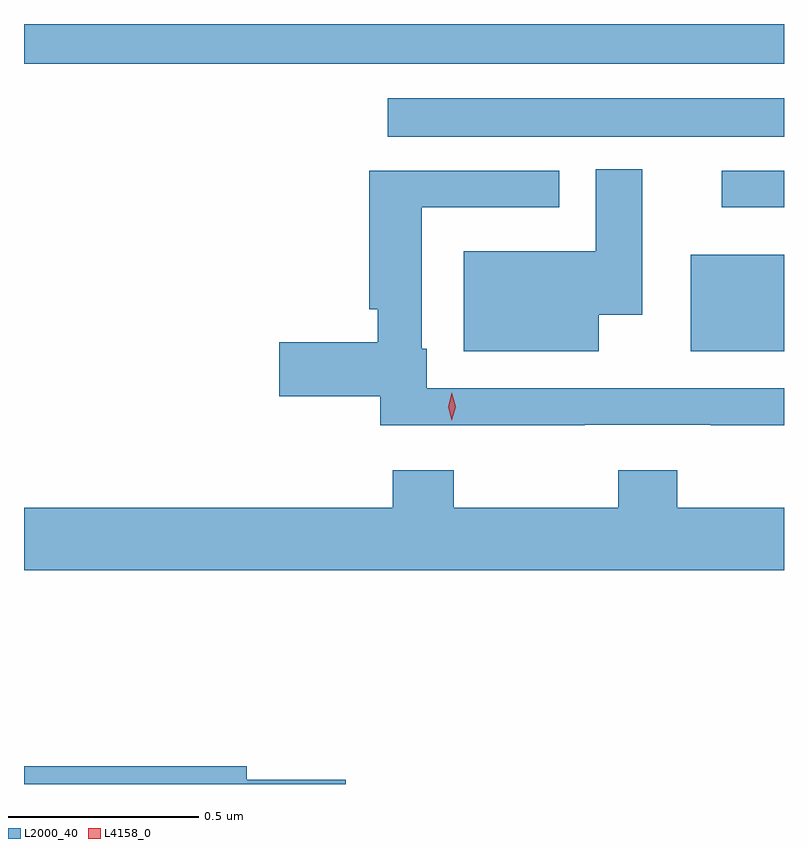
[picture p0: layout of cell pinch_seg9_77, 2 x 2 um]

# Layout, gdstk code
import gdstk
lib = gdstk.Library(unit=1e-6, precision=1e-09)
def R(c, l, rs):  # rectangles x0, y0, x1, y1
    for r in rs: c.add(gdstk.rectangle(r[:2], r[2:], *l))
def P(c, l, *ps):  # polygons
    for p in ps: c.add(gdstk.Polygon(p, *l))
L2000_40 = (2000, 40)
L4158_0 = (4158, 0)

pinch_seg9_77 = lib.new_cell('pinch_seg9_77')
R(pinch_seg9_77, L2000_40, [(1118.354,1186.34,1118.6,1186.594), (1118.436,1186.719,1118.6,1186.815), (1117.557,1186.904,1118.6,1187.005), (1116.6,1187.096,1118.6,1187.201)])
P(pinch_seg9_77, L2000_40, [(1118.113,1186.436),(1118.227,1186.436),(1118.227,1186.819),(1118.105,1186.819),(1118.105,1186.603),(1117.757,1186.603),(1117.757,1186.34),(1118.113,1186.34)],
  [(1118.075,1186.146),(1118.407,1186.146),(1118.407,1186.145),(1118.6,1186.145),(1118.6,1186.242),(1117.66,1186.242),(1117.66,1186.347),(1117.647,1186.347),(1117.647,1186.719),(1118.008,1186.719),(1118.008,1186.815),(1117.508,1186.815),(1117.508,1186.451),(1117.531,1186.451),(1117.531,1186.364),(1117.272,1186.364),(1117.272,1186.222),(1117.538,1186.222),(1117.538,1186.145),(1118.075,1186.145)],
  [(1118.6,1185.928),(1118.319,1185.928),(1118.319,1186.027),(1118.164,1186.027),(1118.164,1185.928),(1117.731,1185.928),(1117.731,1186.027),(1117.571,1186.027),(1117.571,1185.928),(1116.6,1185.928),(1116.6,1185.764),(1118.6,1185.764)],
  [(1117.447,1185.212),(1117.186,1185.212),(1117.186,1185.248),(1116.6,1185.248),(1116.6,1185.201),(1117.447,1185.201)])
P(pinch_seg9_77, L4158_0, [(1117.726,1186.158),(1117.726,1186.158),(1117.716,1186.194),(1117.726,1186.23),(1117.726,1186.23),(1117.726,1186.23),(1117.736,1186.194),(1117.726,1186.158)])

lib.write_gds('pinch_seg9_77.gds')
